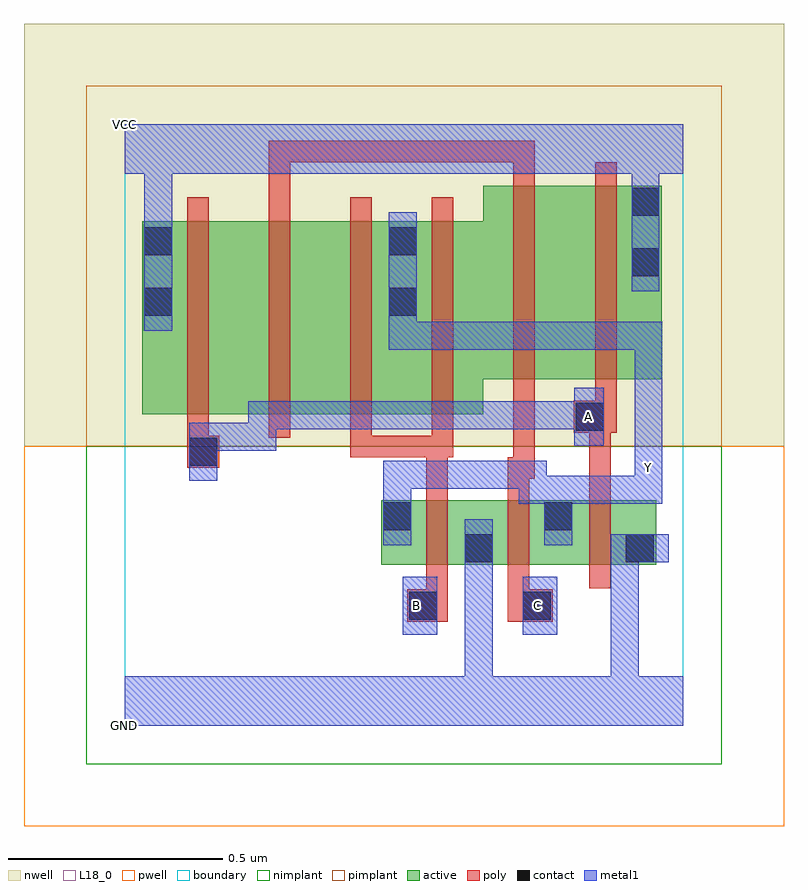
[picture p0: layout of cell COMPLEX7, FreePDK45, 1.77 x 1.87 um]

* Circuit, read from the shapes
.subckt COMPLEX7 A B C GND VCC Y
M1 GND B Y VSUBS nfet w=0.15u l=0.05u
M2 Y C GND VSUBS nfet w=0.15u l=0.05u
M3 GND A Y VSUBS nfet w=0.15u l=0.05u
M4 n1 A VCC n2 pfet w=0.45u l=0.05u
M5 n3 C n1 n2 pfet w=0.45u l=0.05u
M6 Y B n3 n2 pfet w=0.45u l=0.05u
M7 n4 B Y n2 pfet w=0.45u l=0.05u
M8 n5 C n4 n2 pfet w=0.45u l=0.05u
M9 VCC A n5 n2 pfet w=0.45u l=0.05u
.ends

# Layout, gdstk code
import gdstk
lib = gdstk.Library(unit=1e-6, precision=1e-09)
def R(c, l, rs):  # rectangles x0, y0, x1, y1
    for r in rs: c.add(gdstk.rectangle(r[:2], r[2:], *l))
def A(c, l, x, y, w, h, nx, ny, dx, dy):  # array of equal rectangles
    R(c, l, [(x+i*dx, y+j*dy, x+i*dx+w, y+j*dy+h) for i in range(nx) for j in range(ny)])
active = (1, 0)
pwell = (2, 0)
nwell = (3, 0)
nimplant = (4, 0)
pimplant = (5, 0)
poly = (9, 0)
contact = (10, 0)
metal1 = (11, 0)
L18_0 = (18, 0)
boundary = (235, 0)

complex7 = lib.new_cell('COMPLEX7')
R(complex7, active, [(0.597,0.375,0.862,0.525), (0.787,0.375,1.047,0.525), (0.787,0.375,0.862,0.475), (0.972,0.375,1.237,0.525), (1.162,0.375,1.237,0.525), (0.597,0.432,0.672,0.525), (0.972,0.432,1.047,0.525), (0.04,0.725,0.265,1.175), (0.04,0.725,0.115,1.175), (0.265,0.725,0.455,1.175), (0.455,0.725,0.685,1.175), (0.61,0.725,0.835,1.175), (0.61,0.725,0.685,1.175), (0.835,0.807,1.025,1.257), (1.025,0.807,1.25,1.257), (1.175,0.855,1.25,1.257)])
R(complex7, pwell, [(-0.235,-0.235,1.535,0.65)])
R(complex7, nwell, [(-0.235,0.65,1.535,1.635)])
R(complex7, nimplant, [(-0.09,-0.09,1.39,0.65)])
R(complex7, pimplant, [(-0.09,0.65,1.39,1.49)])
A(complex7, poly, 0.702, 0.32, 0.05, 0.26, 3, 1, 0.19, 0)
A(complex7, poly, 0.145, 0.67, 0.05, 0.56, 4, 1, 0.19, 0)
R(complex7, poly, [(0.657,0.242,0.752,0.317), (0.892,0.242,0.997,0.317), (0.702,0.267,0.752,0.37), (0.892,0.267,0.942,0.37), (0.702,0.53,0.752,0.675), (0.892,0.53,0.942,0.625), (1.082,0.53,1.132,0.732), (0.892,0.575,0.955,0.625), (0.905,0.575,0.955,0.802), (0.145,0.6,0.22,0.675), (0.145,0.625,0.195,0.72), (0.525,0.625,0.575,0.72), (0.525,0.625,0.575,0.675), (0.525,0.625,0.575,0.675), (0.525,0.625,0.575,0.675), (0.525,0.625,0.752,0.675), (0.702,0.625,0.765,0.675), (0.715,0.625,0.765,0.72), (1.045,0.682,1.145,0.757), (1.095,0.707,1.145,0.802), (0.905,0.752,0.955,1.312), (1.095,0.752,1.145,1.312), (0.335,1.18,0.385,1.362), (0.905,1.262,0.955,1.362), (0.335,1.312,0.385,1.362), (0.335,1.312,0.385,1.362), (0.335,1.312,0.385,1.362), (0.335,1.312,0.575,1.362), (0.525,1.312,0.575,1.362), (0.525,1.312,0.575,1.362), (0.525,1.312,0.575,1.362), (0.525,1.312,0.81,1.362), (0.76,1.312,0.81,1.362), (0.76,1.312,0.955,1.362), (0.905,1.312,0.955,1.362), (0.905,1.312,0.955,1.362), (0.905,1.312,0.955,1.362)])
R(complex7, contact, [(0.662,0.247,0.727,0.312), (0.927,0.247,0.992,0.312), (0.792,0.38,0.857,0.445), (1.167,0.38,1.232,0.445), (0.602,0.455,0.667,0.52), (0.977,0.455,1.042,0.52), (0.15,0.605,0.215,0.67), (1.05,0.687,1.115,0.752), (0.045,0.955,0.11,1.02), (0.615,0.955,0.68,1.02), (1.18,1.047,1.245,1.112), (0.045,1.095,0.11,1.16), (0.615,1.095,0.68,1.16), (1.18,1.187,1.245,1.252)])
R(complex7, metal1, [(0,0,1.3,0.115), (0.792,0.05,0.857,0.115), (0.792,0.05,0.857,0.115), (0.792,0.05,0.857,0.115), (0.792,0.05,0.857,0.115), (0.792,0.05,0.857,0.41), (1.132,0.05,1.197,0.115), (1.132,0.05,1.197,0.115), (1.132,0.05,1.197,0.115), (1.132,0.05,1.197,0.115), (1.132,0.05,1.197,0.115), (1.132,0.05,1.197,0.115), (1.132,0.05,1.197,0.445), (0.647,0.212,0.727,0.347), (0.927,0.212,1.007,0.347), (0.792,0.345,0.857,0.41), (0.792,0.345,0.857,0.41), (0.792,0.345,0.857,0.48), (1.132,0.38,1.267,0.445), (0.602,0.42,0.667,0.555), (0.977,0.42,1.042,0.582), (0.602,0.49,0.667,0.555), (0.602,0.49,0.667,0.617), (0.917,0.517,1.042,0.582), (0.917,0.517,0.982,0.617), (0.977,0.517,1.252,0.582), (1.187,0.517,1.252,0.582), (1.187,0.517,1.252,0.582), (1.187,0.517,1.252,0.582), (1.187,0.517,1.252,0.597), (1.187,0.532,1.252,0.667), (0.602,0.552,0.857,0.617), (0.792,0.552,0.857,0.617), (0.792,0.552,0.982,0.617), (0.15,0.57,0.215,0.705), (1.187,0.602,1.252,0.94), (0.15,0.64,0.215,0.705), (0.15,0.64,0.215,0.705), (0.15,0.64,0.352,0.705), (0.287,0.64,0.352,0.755), (1.047,0.652,1.115,0.787), (0.287,0.69,0.352,0.755), (0.287,0.69,0.352,0.755), (0.287,0.69,0.49,0.755), (0.425,0.69,0.49,0.755), (0.425,0.69,0.627,0.755), (0.562,0.69,0.627,0.755), (0.562,0.69,0.627,0.755), (0.562,0.69,0.627,0.755), (0.562,0.69,0.905,0.755), (0.84,0.69,0.905,0.755), (0.84,0.69,0.905,0.755), (0.84,0.69,0.905,0.755), (0.84,0.69,1.06,0.755), (0.995,0.69,1.06,0.755), (0.995,0.69,1.112,0.755), (0.615,0.875,0.905,0.94), (0.615,0.875,0.68,0.985), (0.84,0.875,0.905,0.94), (0.84,0.875,0.905,0.94), (0.84,0.875,0.905,0.94), (0.84,0.875,1.06,0.94), (0.995,0.875,1.06,0.94), (0.995,0.875,1.252,0.94), (1.187,0.875,1.252,0.94), (1.187,0.875,1.252,0.94), (1.187,0.875,1.252,0.94), (0.045,0.92,0.11,1.195), (0.615,0.92,0.68,0.985), (0.615,0.92,0.68,1.195), (1.18,1.012,1.245,1.287), (0.045,1.13,0.11,1.35), (1.18,1.222,1.245,1.287), (1.18,1.222,1.245,1.287), (1.18,1.222,1.245,1.35), (0,1.285,1.3,1.4), (0.045,1.285,0.11,1.35), (0.045,1.285,0.11,1.35)])
R(complex7, L18_0, [(0,0,1.3,0.115), (0.792,0.05,0.857,0.115), (0.792,0.05,0.857,0.115), (0.792,0.05,0.857,0.115), (0.792,0.05,0.857,0.115), (0.792,0.05,0.857,0.41), (1.132,0.05,1.197,0.115), (1.132,0.05,1.197,0.115), (1.132,0.05,1.197,0.115), (1.132,0.05,1.197,0.115), (1.132,0.05,1.197,0.115), (1.132,0.05,1.197,0.115), (1.132,0.05,1.197,0.445), (0.647,0.212,0.727,0.347), (0.927,0.212,1.007,0.347), (0.647,0.247,0.712,0.312), (0.927,0.247,0.992,0.312), (0.792,0.345,0.857,0.41), (0.792,0.345,0.857,0.41), (0.792,0.345,0.857,0.48), (1.132,0.38,1.267,0.445), (0.602,0.42,0.667,0.555), (0.977,0.42,1.042,0.582), (0.602,0.49,0.667,0.555), (0.602,0.49,0.667,0.617), (0.917,0.517,0.982,0.617), (0.917,0.517,1.042,0.582), (0.977,0.517,1.252,0.582), (1.187,0.517,1.252,0.582), (1.187,0.517,1.252,0.582), (1.187,0.517,1.252,0.582), (1.187,0.517,1.252,0.597), (1.187,0.532,1.252,0.667), (0.602,0.552,0.857,0.617), (0.792,0.552,0.857,0.617), (0.792,0.552,0.982,0.617), (1.187,0.567,1.252,0.632), (0.15,0.57,0.215,0.705), (1.187,0.602,1.252,0.94), (0.15,0.64,0.215,0.705), (0.15,0.64,0.215,0.705), (0.15,0.64,0.352,0.705), (0.287,0.64,0.352,0.755), (1.047,0.652,1.115,0.787), (1.047,0.687,1.112,0.752), (0.287,0.69,0.352,0.755), (0.287,0.69,0.352,0.755), (0.287,0.69,0.49,0.755), (0.425,0.69,0.49,0.755), (0.425,0.69,0.627,0.755), (0.562,0.69,0.627,0.755), (0.562,0.69,0.627,0.755), (0.562,0.69,0.627,0.755), (0.562,0.69,0.905,0.755), (0.84,0.69,0.905,0.755), (0.84,0.69,0.905,0.755), (0.84,0.69,0.905,0.755), (0.84,0.69,1.06,0.755), (0.995,0.69,1.06,0.755), (0.995,0.69,1.112,0.755), (0.615,0.875,0.68,0.985), (0.615,0.875,0.905,0.94), (0.84,0.875,0.905,0.94), (0.84,0.875,0.905,0.94), (0.84,0.875,0.905,0.94), (0.84,0.875,1.06,0.94), (0.995,0.875,1.06,0.94), (0.995,0.875,1.252,0.94), (1.187,0.875,1.252,0.94), (1.187,0.875,1.252,0.94), (1.187,0.875,1.252,0.94), (0.045,0.92,0.11,1.195), (0.615,0.92,0.68,1.195), (0.615,0.92,0.68,0.985), (1.18,1.012,1.245,1.287), (0.045,1.13,0.11,1.35), (1.18,1.222,1.245,1.287), (1.18,1.222,1.245,1.287), (1.18,1.222,1.245,1.35), (0,1.285,1.3,1.4), (0.045,1.285,0.11,1.35), (0.045,1.285,0.11,1.35)])
R(complex7, boundary, [(0,0,1.3,1.4)])
complex7.add(gdstk.Label('A', (1.08,0.72), layer=11, texttype=0))
complex7.add(gdstk.Label('B', (0.68,0.28), layer=11, texttype=0))
complex7.add(gdstk.Label('C', (0.96,0.28), layer=11, texttype=0))
complex7.add(gdstk.Label('Y', (1.22,0.6), layer=11, texttype=0))
complex7.add(gdstk.Label('VCC', (0,1.4), layer=11, texttype=0))
complex7.add(gdstk.Label('GND', (0,0), layer=11, texttype=0))

lib.write_gds('COMPLEX7.gds')
